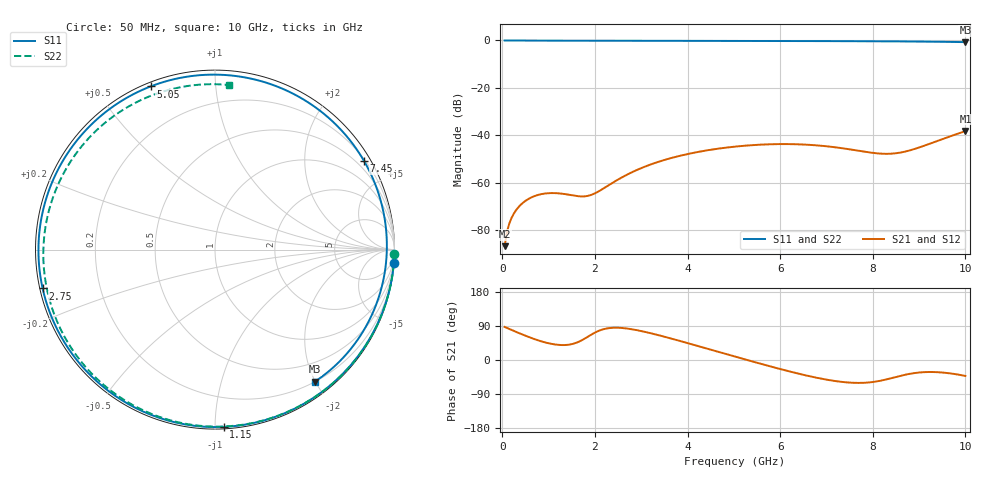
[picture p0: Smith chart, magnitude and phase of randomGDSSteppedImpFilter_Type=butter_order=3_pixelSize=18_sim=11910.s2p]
! freq	dB(S11)	phase(S11)	dB(S12)	phase(S12)
!  dB(S21)	phase(S21)	dB(S22)	phase(S22)
!S-par simulation data
#  GHz  S  DB  R 50
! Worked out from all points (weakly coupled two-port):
!   200 points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, 50 MHz to 10 GHz, reference 50 ohm
!   highest |S21| = -38.18 dB at 10 GHz (marker M1); lowest = -86.7 dB at 50 MHz (marker M2)
!   lowest |S11| = -0.7 dB at 10 GHz (marker M3), VSWR 24.67, Z = 10.1 - j99.6 ohm
!   |S11| at or under -10 dB: nowhere
!   |S22| runs from -0.7 to 0.0 dB; largest |S21 - S12| = 0
!   S11 on the Smith chart (normalised r, x): 50 MHz: 0, -27; 1.15 GHz: 0.01, -1.05; 2.75 GHz: 0.01, -0.11; 5.05 GHz: 0.02, +0.68; 7.45 GHz: 0.25, +3.63; 10 GHz: 0.20, -1.99
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0.05  -0.00 -4.2  -86.68 87.3  -86.68 87.3  -0.00 -1.3
0.1  -0.01 -8.4  -80.68 84.6  -80.68 84.6  -0.00 -2.6
0.2  -0.03 -16.6  -74.77 79.3  -74.77 79.3  -0.01 -5.1
0.3  -0.04 -24.8  -71.44 74.1  -71.44 74.1  -0.01 -7.7
0.5  -0.06 -40.7  -67.58 64.1  -67.58 64.1  -0.02 -12.8
0.8  -0.08 -63.3  -64.94 50.8  -64.94 50.8  -0.03 -20.4
1.15  -0.10 -87.2  -64.33 40.8  -64.33 40.8  -0.04 -29.2
1.45  -0.11 -105.5  -65.05 40.7  -65.05 40.7  -0.05 -36.8
1.75  -0.12 -122.0  -65.72 54.3  -65.72 54.3  -0.06 -44.2
1.95  -0.12 -132.1  -64.85 68.9  -64.85 68.9  -0.06 -49.2
2.25  -0.13 -146.1  -61.58 83.1  -61.58 83.1  -0.07 -56.5
2.75  -0.14 -167.3  -55.99 82.1  -55.99 82.1  -0.09 -68.6
3.4  -0.15 168.1  -50.96 64.7  -50.96 64.7  -0.11 -84.1
4.25  -0.17 138.4  -46.89 36.0  -46.89 36.0  -0.15 -104.2
5.05  -0.20 111.6  -44.68 8.1  -44.68 8.1  -0.19 -123.1
5.85  -0.23 84.8  -43.71 -18.9  -43.71 -18.9  -0.25 -142.4
6.7  -0.26 56.1  -44.07 -44.6  -44.07 -44.6  -0.33 -164.0
7.45  -0.30 30.7  -45.72 -59.2  -45.72 -59.2  -0.41 175.3
8.35  -0.38 0.6  -47.75 -49.6  -47.75 -49.6  -0.52 147.4
8.75  -0.43 -12.6  -46.58 -37.6  -46.58 -37.6  -0.57 133.7
9.25  -0.51 -28.9  -43.38 -31.6  -43.38 -31.6  -0.64 115.3
10  -0.70 -53.0  -38.18 -42.1  -38.18 -42.1  -0.72 85.2
